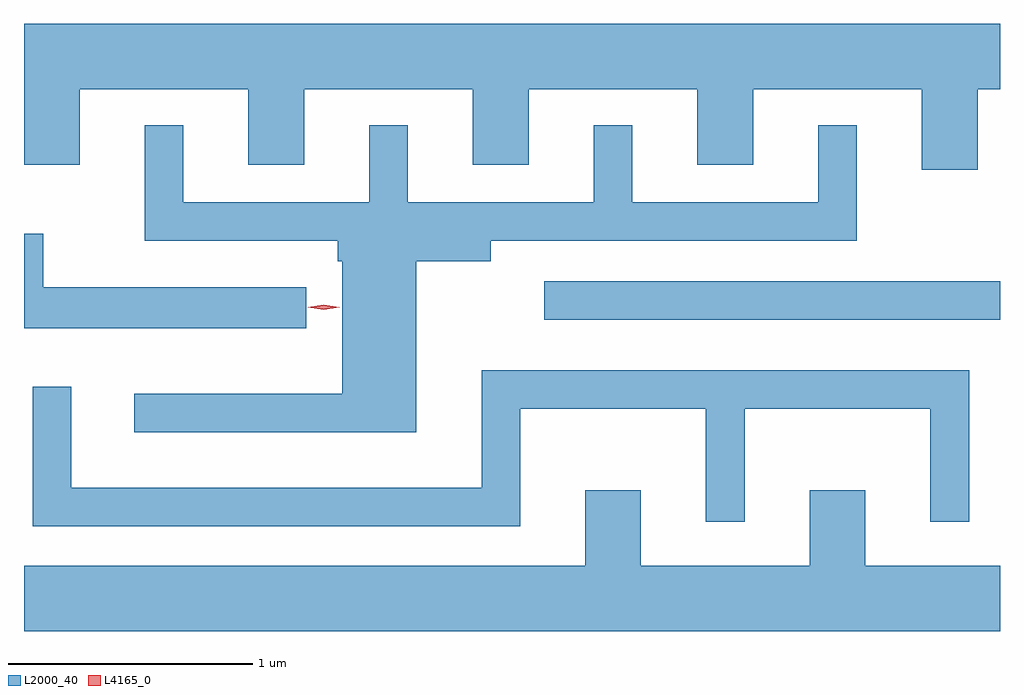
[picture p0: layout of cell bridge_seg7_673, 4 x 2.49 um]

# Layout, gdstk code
import gdstk
lib = gdstk.Library(unit=1e-6, precision=1e-09)
def R(c, l, rs):  # rectangles x0, y0, x1, y1
    for r in rs: c.add(gdstk.rectangle(r[:2], r[2:], *l))
def P(c, l, *ps):  # polygons
    for p in ps: c.add(gdstk.Polygon(p, *l))
L2000_40 = (2000, 40)
L4165_0 = (4165, 0)

bridge_seg7_673 = lib.new_cell('bridge_seg7_673')
R(bridge_seg7_673, L2000_40, [(969.803,1684.511,971.671,1684.669)])
P(bridge_seg7_673, L2000_40, [(971.579,1685.456),(971.671,1685.456),(971.671,1685.724),(967.671,1685.724),(967.671,1685.146),(967.899,1685.146),(967.899,1685.456),(968.591,1685.456),(968.591,1685.146),(968.819,1685.146),(968.819,1685.456),(969.511,1685.456),(969.511,1685.146),(969.739,1685.146),(969.739,1685.456),(970.431,1685.456),(970.431,1685.146),(970.659,1685.146),(970.659,1685.456),(971.351,1685.456),(971.351,1685.126),(971.579,1685.126)],
  [(969.279,1684.751),(969.584,1684.751),(969.584,1684.836),(971.084,1684.836),(971.084,1685.308),(970.926,1685.308),(970.926,1684.994),(970.164,1684.994),(970.164,1685.308),(970.006,1685.308),(970.006,1684.994),(969.244,1684.994),(969.244,1685.308),(969.086,1685.308),(969.086,1684.994),(968.324,1684.994),(968.324,1685.308),(968.166,1685.308),(968.166,1684.836),(968.956,1684.836),(968.956,1684.751),(968.976,1684.751),(968.976,1684.209),(968.123,1684.209),(968.123,1684.051),(969.279,1684.051)],
  [(968.828,1684.644),(967.749,1684.644),(967.749,1684.864),(967.671,1684.864),(967.671,1684.476),(968.828,1684.476)],
  [(969.704,1684.146),(970.466,1684.146),(970.466,1683.683),(970.624,1683.683),(970.624,1684.146),(971.386,1684.146),(971.386,1683.683),(971.544,1683.683),(971.544,1684.304),(969.546,1684.304),(969.546,1683.824),(967.864,1683.824),(967.864,1684.238),(967.706,1684.238),(967.706,1683.666),(969.704,1683.666)],
  [(971.671,1683.504),(971.119,1683.504),(971.119,1683.814),(970.891,1683.814),(970.891,1683.504),(970.199,1683.504),(970.199,1683.814),(969.971,1683.814),(969.971,1683.504),(967.671,1683.504),(967.671,1683.236),(971.671,1683.236)])
P(bridge_seg7_673, L4165_0, [(968.899,1684.553),(968.833,1684.562),(968.833,1684.563),(968.833,1684.563),(968.899,1684.573),(968.964,1684.564),(968.965,1684.563),(968.964,1684.563)])

lib.write_gds('bridge_seg7_673.gds')
